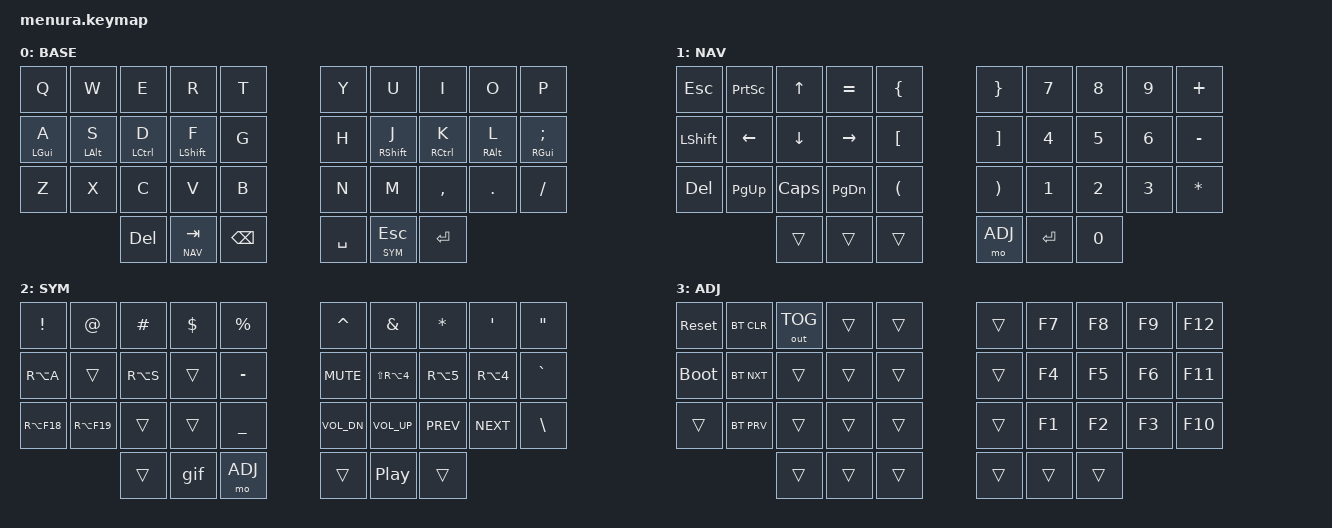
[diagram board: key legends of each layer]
#include <behaviors.dtsi>
#include <dt-bindings/zmk/keys.h>
#include <dt-bindings/zmk/bt.h>
#include <dt-bindings/zmk/outputs.h>

#define BASE 0
#define NAV  1
#define SYM  2
#define ADJ  3

&mt {
    quick-tap-ms = <100>;
    global-quick-tap;
    flavor = "tap-preferred";
    tapping-term-ms = <170>;
};

/ {
    combos {
        compatible = "zmk,combos";

        combo_esc {
            timeout-ms = <50>;
            key-positions = <0 1>;
            bindings = <&kp ESC>;
        };

        combo_enter_thumb {
            timeout-ms = <80>;
            key-positions = <32 33>;
            bindings = <&kp RET>;
        };
    };

    macros {
        gif: gif {
            label = "giphy";
            compatible = "zmk,behavior-macro";
            #binding-cells = <0>;
            bindings
                = <&macro_press &kp LSHFT>
                , <&macro_tap &kp N2>
                , <&macro_release &kp LSHFT>
                , <&macro_tap &kp G &kp I &kp F>
                ;
        };
    };

    keymap {
        compatible = "zmk,keymap";

        base_layer {
            label = "BASE";
            bindings = <
                &kp Q       &kp W       &kp E       &kp R       &kp T          &kp Y       &kp U       &kp I       &kp O       &kp P
                &mt LGUI A  &mt LALT S  &mt LCTRL D &mt LSHFT F &kp G          &kp H       &mt RSHFT J &mt RCTRL K &mt RALT L  &mt RGUI SEMI
                &kp Z       &kp X       &kp C       &kp V       &kp B          &kp N       &kp M       &kp COMMA   &kp DOT     &kp FSLH
                                        &kp DEL     &lt NAV TAB &kp BSPC       &kp SPACE   &lt SYM ESC &kp RET
            >;
        };

        nav_layer {
            label = "NAV";
            bindings = <
                &kp ESC     &kp PSCRN   &kp UP      &kp EQUAL   &kp LBRC       &kp RBRC    &kp N7      &kp N8      &kp N9      &kp PLUS
                &kp LSHFT   &kp LEFT    &kp DOWN    &kp RIGHT   &kp LBKT       &kp RBKT    &kp N4      &kp N5      &kp N6      &kp MINUS
                &kp DEL     &kp PG_UP   &kp CAPS    &kp PG_DN   &kp LPAR       &kp RPAR    &kp N1      &kp N2      &kp N3      &kp ASTERISK
                                        &trans      &trans      &trans         &mo ADJ     &kp RET     &kp N0
            >;
        };

        sym_layer {
            label = "SYM";
            bindings = <
                &kp EXCL    &kp AT      &kp HASH    &kp DLLR    &kp PRCNT      &kp CARET   &kp AMPS    &kp ASTERISK &kp SQT     &kp DQT
                &kp RA(A)   &trans      &kp RA(S)   &trans      &kp MINUS      &kp C_MUTE  &kp LS(RA(N4)) &kp RA(N5) &kp RA(N4) &kp GRAVE
                &kp RA(F18) &kp RA(F19) &trans      &trans      &kp UNDER      &kp C_VOL_DN &kp C_VOL_UP &kp C_PREV  &kp C_NEXT  &kp BSLH
                                        &trans      &gif        &mo ADJ        &trans      &kp C_PP    &trans
            >;
        };

        adjust_layer {
            label = "ADJ";
            bindings = <
                &sys_reset  &bt BT_CLR  &out OUT_TOG &trans     &trans         &trans      &kp F7     &kp F8      &kp F9      &kp F12
                &bootloader &bt BT_NXT  &trans       &trans     &trans         &trans      &kp F4     &kp F5      &kp F6      &kp F11
                &trans      &bt BT_PRV  &trans       &trans     &trans         &trans      &kp F1     &kp F2      &kp F3      &kp F10
                                        &trans       &trans     &trans         &trans      &trans     &trans
            >;
        };
    };
};
